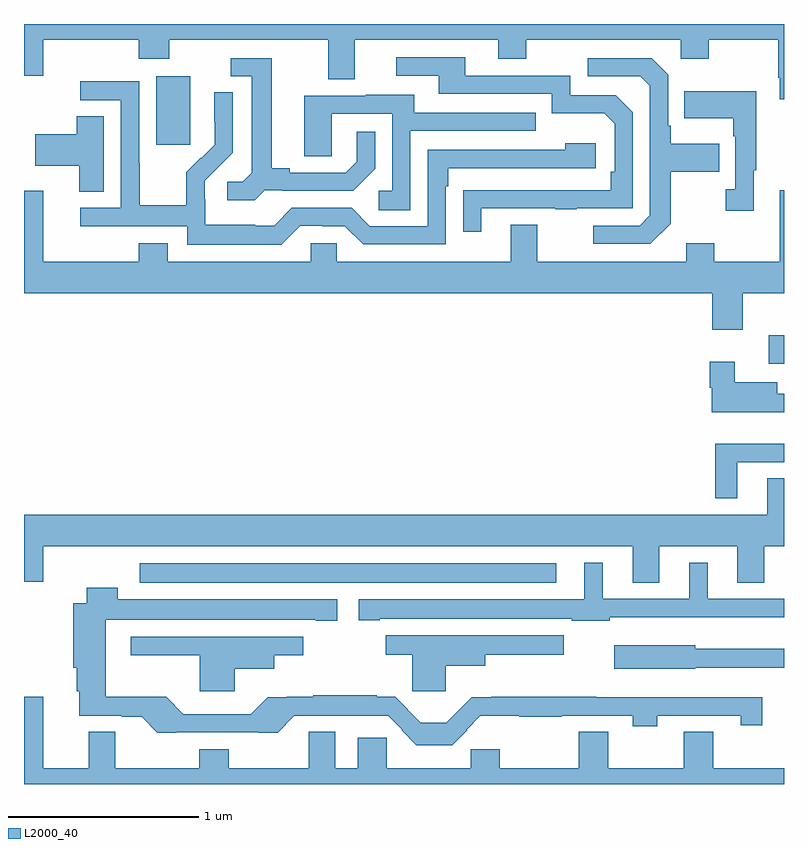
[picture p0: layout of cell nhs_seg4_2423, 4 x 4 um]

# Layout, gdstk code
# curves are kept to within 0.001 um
import gdstk
lib = gdstk.Library(unit=1e-6, precision=1e-09)
def R(c, l, rs):  # rectangles x0, y0, x1, y1
    for r in rs: c.add(gdstk.rectangle(r[:2], r[2:], *l))
def P(c, l, *ps):  # polygons
    for p in ps: c.add(gdstk.Polygon(p, *l))
L2000_40 = (2000, 40)

nhs_seg4_2423 = lib.new_cell('nhs_seg4_2423')
R(nhs_seg4_2423, L2000_40, [(237.609,797.96,239.8,798.061), (240.921,799.112,241,799.261), (237.695,800.265,237.874,800.626)])
P(nhs_seg4_2423, L2000_40, [(237,800.628),(237.1,800.628),(237.1,800.816),(237.605,800.816),(237.605,800.717),(237.765,800.717),(237.765,800.816),(238.601,800.816),(238.601,800.608),(238.741,800.608),(238.741,800.816),(239.495,800.816),(239.495,800.717),(239.643,800.717),(239.643,800.816),(240.456,800.816),(240.456,800.717),(240.603,800.717),(240.603,800.816),(240.97,800.816),(240.97,800.617),(240.977,800.617),(240.977,800.505),(241,800.505),(241,800.9),(237,800.9)],
  [(239.407,799.929),(239.797,799.929),(239.797,799.924),(239.909,799.924),(239.909,799.929),(240.204,799.929),(240.204,800.436),(240.114,800.526),(239.874,800.526),(239.874,800.628),(239.323,800.628),(239.323,800.724),(238.959,800.724),(238.959,800.628),(239.183,800.628),(239.183,800.532),(239.778,800.532),(239.778,800.429),(240.055,800.429),(240.108,800.376),(240.108,800.122),(240.088,800.122),(240.088,800.025),(239.311,800.024),(239.311,799.806),(239.407,799.806)],
  [(238.266,800.025),(238.36,800.025),(238.36,800.022),(238.732,800.022),(238.848,800.138),(238.848,800.332),(238.751,800.332),(238.751,800.175),(238.694,800.118),(238.399,800.118),(238.399,800.141),(238.303,800.141),(238.303,800.721),(238.089,800.721),(238.089,800.625),(238.199,800.625),(238.199,800.117),(238.152,800.07),(238.071,800.07),(238.071,799.973),(238.214,799.973)],
  [(240.403,799.849),(240.403,800.122),(240.659,800.122),(240.659,800.269),(240.403,800.269),(240.403,800.365),(240.39,800.365),(240.39,800.634),(240.303,800.721),(239.967,800.721),(239.967,800.625),(240.243,800.625),(240.294,800.574),(240.294,799.893),(240.24,799.839),(239.997,799.839),(239.997,799.743),(240.297,799.743)],
  [(238.455,799.839),(238.571,799.839),(238.571,799.836),(238.689,799.836),(238.785,799.74),(239.22,799.74),(239.22,800.045),(239.233,800.045),(239.233,800.142),(240.01,800.142),(240.01,800.272),(239.849,800.272),(239.849,800.238),(239.124,800.238),(239.124,799.836),(238.821,799.836),(238.725,799.932),(238.41,799.932),(238.317,799.839),(238.217,799.839),(238.217,799.843),(237.954,799.843),(237.954,799.977),(237.952,799.977),(237.952,800.074),(238.098,800.222),(238.098,800.54),(238.002,800.54),(238.002,800.386),(238.004,800.386),(238.004,800.264),(237.933,800.193),(237.93,800.196),(237.853,800.119),(237.853,799.945),(237.609,799.945),(237.609,800.168),(237.606,800.168),(237.606,800.598),(237.297,800.598),(237.297,800.499),(237.51,800.499),(237.51,799.932),(237.297,799.932),(237.297,799.836),(237.858,799.836),(237.858,799.739),(238.355,799.739)],
  [(240.841,800.129),(240.853,800.129),(240.853,800.545),(240.475,800.545),(240.475,800.405),(240.732,800.405),(240.732,800.309),(240.744,800.309),(240.744,800.03),(240.693,800.03),(240.693,799.917),(240.841,799.917)],
  [(239.034,800.337),(239.693,800.337),(239.693,800.433),(239.053,800.433),(239.053,800.527),(238.799,800.527),(238.799,800.523),(238.475,800.523),(238.475,800.203),(238.62,800.203),(238.62,800.427),(238.938,800.427),(238.938,800.022),(238.866,800.022),(238.866,799.921),(239.034,799.921)],
  [(237.421,800.414),(237.278,800.414),(237.278,800.319),(237.06,800.319),(237.06,800.153),(237.29,800.153),(237.29,800.017),(237.421,800.017)],
  [(240.485,799.648),(239.701,799.648),(239.701,799.843),(239.561,799.843),(239.561,799.648),(238.647,799.648),(238.647,799.746),(238.509,799.746),(238.509,799.648),(237.757,799.648),(237.757,799.747),(237.605,799.747),(237.605,799.648),(237.1,799.648),(237.1,800.023),(237,800.023),(237,799.484),(240.623,799.484),(240.623,799.29),(240.783,799.29),(240.783,799.484),(241,799.484),(241,800.026),(240.977,800.026),(240.977,799.648),(240.633,799.648),(240.633,799.747),(240.485,799.747)],
  [(241,798.955),(240.964,798.955),(240.964,799.015),(240.742,799.015),(240.742,799.123),(240.608,799.123),(240.608,798.986),(240.62,798.986),(240.62,798.857),(241,798.857)],
  [(240.754,798.594),(241,798.594),(241,798.691),(240.637,798.691),(240.637,798.405),(240.754,798.405)],
  [(240.343,798.152),(240.755,798.152),(240.755,797.959),(240.895,797.959),(240.895,798.152),(241,798.152),(241,798.509),(240.911,798.509),(240.911,798.316),(237,798.316),(237,797.964),(237.1,797.964),(237.1,798.152),(240.203,798.152),(240.203,797.959),(240.343,797.959)],
  [(240.082,797.777),(241,797.777),(241,797.874),(240.598,797.874),(240.598,798.064),(240.5,798.064),(240.5,797.874),(240.046,797.874),(240.046,798.064),(239.948,798.064),(239.948,797.872),(238.761,797.872),(238.761,797.761),(238.873,797.761),(238.873,797.771),(239.882,797.771),(239.882,797.759),(240.082,797.759)],
  [(239.332,797.183),(239.33,797.186),(239.402,797.258),(239.606,797.258),(239.606,797.254),(239.831,797.254),(239.831,797.259),(240.205,797.259),(240.205,797.204),(240.334,797.204),(240.334,797.259),(240.773,797.259),(240.773,797.208),(240.886,797.208),(240.886,797.356),(240.011,797.356),(240.011,797.358),(239.458,797.358),(239.458,797.356),(239.356,797.356),(239.223,797.223),(239.088,797.223),(238.954,797.358),(238.856,797.358),(238.856,797.368),(238.522,797.368),(238.522,797.358),(238.384,797.358),(238.384,797.356),(238.282,797.356),(238.194,797.268),(237.838,797.268),(237.749,797.358),(237.43,797.358),(237.43,797.765),(238.535,797.765),(238.535,797.758),(238.648,797.758),(238.648,797.872),(237.494,797.872),(237.494,797.932),(237.329,797.932),(237.329,797.851),(237.26,797.851),(237.26,797.511),(237.278,797.511),(237.278,797.387),(237.29,797.387),(237.29,797.259),(237.515,797.259),(237.515,797.254),(237.619,797.254),(237.702,797.171),(238.335,797.171),(238.423,797.259),(238.917,797.259),(238.991,797.186),(238.988,797.183),(239.065,797.105),(239.255,797.105)],
  [(239.219,797.522),(239.428,797.522),(239.428,797.579),(239.842,797.579),(239.842,797.683),(238.905,797.683),(238.905,797.579),(239.044,797.579),(239.044,797.388),(239.219,797.388)],
  [(238.109,797.507),(238.318,797.507),(238.318,797.578),(238.471,797.578),(238.471,797.676),(237.561,797.676),(237.561,797.578),(237.926,797.578),(237.926,797.388),(238.109,797.388)],
  [(240.534,797.513),(241,797.513),(241,797.611),(240.534,797.611),(240.534,797.629),(240.107,797.629),(240.107,797.507),(240.534,797.507)],
  [(241,796.984),(240.627,796.984),(240.627,797.174),(240.472,797.174),(240.472,796.984),(240.075,796.984),(240.075,797.174),(239.92,797.174),(239.92,796.984),(239.505,796.984),(239.505,797.082),(239.351,797.082),(239.351,796.984),(238.908,796.984),(238.908,797.143),(238.757,797.143),(238.757,796.984),(238.639,796.984),(238.639,797.174),(238.499,797.174),(238.499,796.984),(238.077,796.984),(238.077,797.083),(237.922,797.083),(237.922,796.984),(237.481,796.984),(237.481,797.174),(237.341,797.174),(237.341,796.984),(237.1,796.984),(237.1,797.359),(237,797.359),(237,796.9),(241,796.9)])

lib.write_gds('nhs_seg4_2423.gds')
